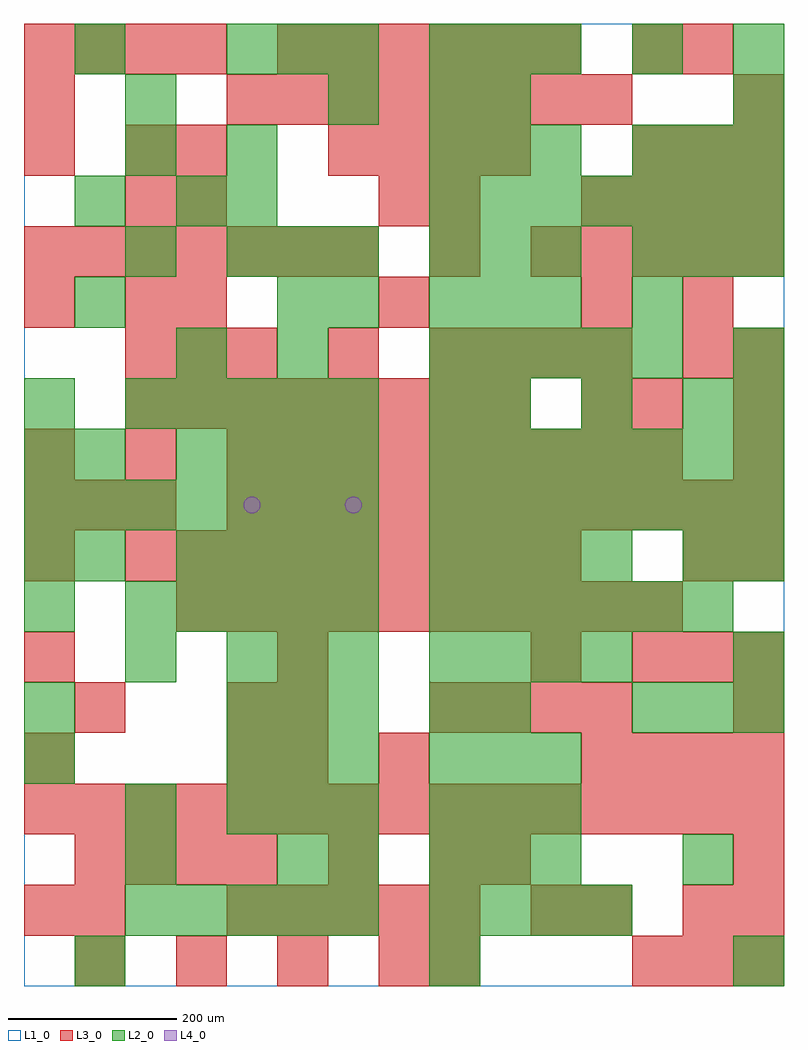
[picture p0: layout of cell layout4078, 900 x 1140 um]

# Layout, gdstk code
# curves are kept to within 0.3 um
import gdstk
lib = gdstk.Library(unit=1e-6, precision=1e-09)
def R(c, l, rs):  # rectangles x0, y0, x1, y1
    for r in rs: c.add(gdstk.rectangle(r[:2], r[2:], *l))
def A(c, l, x, y, w, h, nx, ny, dx, dy):  # array of equal rectangles
    R(c, l, [(x+i*dx, y+j*dy, x+i*dx+w, y+j*dy+h) for i in range(nx) for j in range(ny)])
def P(c, l, *ps):  # polygons
    for p in ps: c.add(gdstk.Polygon(p, *l))
L1_0 = (1, 0)
L2_0 = (2, 0)
L3_0 = (3, 0)
L4_0 = (4, 0)

layout4078 = lib.new_cell('layout4078')
R(layout4078, L1_0, [(0,0,900,1140)])
A(layout4078, L2_0, 120, 60, 60, 60, 5, 2, 60, 360)
A(layout4078, L2_0, 480, 60, 60, 60, 4, 2, 60, 300)
A(layout4078, L2_0, 480, 120, 60, 60, 3, 3, 60, 60)
A(layout4078, L2_0, 240, 180, 60, 60, 3, 4, 60, 60)
A(layout4078, L2_0, 480, 300, 60, 60, 1, 3, 0, 360)
A(layout4078, L2_0, 720, 300, 60, 60, 3, 2, 60, 540)
A(layout4078, L2_0, 480, 420, 60, 60, 6, 1, 60, 0)
A(layout4078, L2_0, 180, 480, 60, 60, 4, 2, 60, 120)
A(layout4078, L2_0, 480, 480, 60, 60, 4, 1, 60, 0)
A(layout4078, L2_0, 0, 540, 60, 60, 7, 1, 60, 0)
A(layout4078, L2_0, 480, 540, 60, 60, 7, 2, 60, 60)
A(layout4078, L2_0, 120, 660, 60, 60, 5, 1, 60, 0)
A(layout4078, L2_0, 540, 660, 60, 60, 3, 1, 120, 0)
A(layout4078, L2_0, 480, 720, 60, 60, 5, 1, 60, 0)
A(layout4078, L2_0, 480, 780, 60, 60, 3, 2, 60, 60)
A(layout4078, L2_0, 240, 840, 60, 60, 3, 2, 60, 240)
A(layout4078, L2_0, 480, 900, 60, 60, 7, 1, 60, 0)
A(layout4078, L2_0, 480, 960, 60, 60, 3, 2, 60, 120)
A(layout4078, L2_0, 720, 960, 60, 60, 3, 1, 60, 0)
R(layout4078, L2_0, [(60,0,120,60), (480,0,540,60), (840,0,900,60), (120,120,180,180), (300,120,360,180), (360,120,420,180), (780,120,840,180), (120,180,180,240), (0,240,60,300), (0,300,60,360), (540,300,600,360), (120,360,180,420), (840,360,900,420), (0,420,60,480), (0,480,60,540), (60,480,120,540), (780,480,840,540), (840,480,900,540), (0,600,60,660), (60,600,120,660), (0,660,60,720), (840,660,900,720), (180,720,240,780), (300,720,360,780), (840,720,900,780), (60,780,120,840), (300,780,360,840), (360,780,420,840), (720,780,780,840), (120,840,180,900), (60,900,120,960), (180,900,240,960), (240,900,300,960), (120,960,180,1020), (240,960,300,1020), (120,1020,180,1080), (360,1020,420,1080), (540,1020,600,1080), (840,1020,900,1080), (60,1080,120,1140), (720,1080,780,1140), (840,1080,900,1140)])
A(layout4078, L3_0, 60, 0, 60, 60, 4, 1, 120, 0)
A(layout4078, L3_0, 720, 0, 60, 60, 3, 2, 60, 360)
A(layout4078, L3_0, 240, 60, 60, 60, 5, 1, 60, 0)
A(layout4078, L3_0, 60, 120, 60, 60, 4, 1, 60, 0)
A(layout4078, L3_0, 840, 120, 60, 60, 1, 3, 0, 180)
A(layout4078, L3_0, 0, 180, 60, 60, 15, 1, 60, 0)
A(layout4078, L3_0, 660, 240, 60, 60, 4, 2, 60, 660)
A(layout4078, L3_0, 480, 300, 60, 60, 4, 2, 60, 420)
A(layout4078, L3_0, 0, 360, 60, 60, 3, 1, 300, 0)
A(layout4078, L3_0, 180, 420, 60, 60, 10, 1, 60, 0)
A(layout4078, L3_0, 120, 480, 60, 60, 9, 1, 60, 0)
A(layout4078, L3_0, 0, 540, 60, 60, 3, 1, 60, 0)
A(layout4078, L3_0, 240, 540, 60, 60, 11, 1, 60, 0)
A(layout4078, L3_0, 0, 600, 60, 60, 3, 1, 120, 0)
A(layout4078, L3_0, 300, 600, 60, 60, 8, 1, 60, 0)
A(layout4078, L3_0, 840, 600, 60, 60, 1, 3, 0, 60)
A(layout4078, L3_0, 120, 660, 60, 60, 8, 1, 60, 0)
A(layout4078, L3_0, 120, 720, 60, 60, 3, 1, 60, 0)
A(layout4078, L3_0, 180, 780, 60, 60, 3, 1, 240, 0)
A(layout4078, L3_0, 0, 840, 60, 60, 7, 1, 60, 0)
A(layout4078, L3_0, 600, 840, 60, 60, 5, 1, 60, 0)
A(layout4078, L3_0, 360, 960, 60, 60, 4, 1, 60, 0)
A(layout4078, L3_0, 720, 960, 60, 60, 3, 1, 60, 0)
A(layout4078, L3_0, 240, 1020, 60, 60, 8, 1, 60, 0)
A(layout4078, L3_0, 0, 1080, 60, 60, 4, 1, 60, 0)
A(layout4078, L3_0, 300, 1080, 60, 60, 6, 1, 60, 0)
R(layout4078, L3_0, [(480,0,540,60), (0,60,60,120), (60,60,120,120), (600,60,660,120), (660,60,720,120), (780,60,840,120), (840,60,900,120), (360,120,420,180), (480,120,540,180), (540,120,600,180), (0,240,60,300), (240,240,300,300), (300,240,360,300), (420,240,480,300), (60,300,120,360), (240,300,300,360), (300,300,360,360), (0,480,60,540), (780,480,840,540), (660,660,720,720), (720,660,780,720), (360,720,420,780), (780,720,840,780), (0,780,60,840), (120,780,180,840), (780,780,840,840), (480,840,540,900), (120,900,180,960), (180,900,240,960), (420,900,480,960), (480,900,540,960), (0,960,60,1020), (120,960,180,1020), (180,960,240,1020), (0,1020,60,1080), (840,1020,900,1080), (720,1080,780,1140), (780,1080,840,1140)])
P(layout4078, L4_0, [(280,570),(279.239,573.827),(277.071,577.071),(273.827,579.239),(270,580),(266.173,579.239),(262.929,577.071),(260.761,573.827),(260,570),(260.761,566.173),(262.929,562.929),(266.173,560.761),(270,560),(273.827,560.761),(277.071,562.929),(279.239,566.173)],
  [(400,570),(399.239,573.827),(397.071,577.071),(393.827,579.239),(390,580),(386.173,579.239),(382.929,577.071),(380.761,573.827),(380,570),(380.761,566.173),(382.929,562.929),(386.173,560.761),(390,560),(393.827,560.761),(397.071,562.929),(399.239,566.173)])

lib.write_gds('layout4078.gds')
